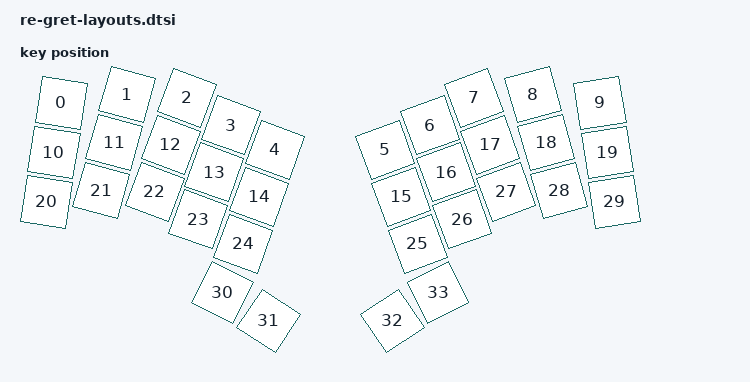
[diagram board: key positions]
#include <physical_layouts.dtsi>

/ {
    physical_layout0: physical_layout_0 {
        compatible = "zmk,physical-layout";
        display-name = "Default";

        kscan = <&kscan0>;
        transform = <&matrix_transform0>;

        keys  //                     w   h    x    y     rot    rx    ry
            = <&key_physical_attrs 100 100   30   17     900    80    67>
            , <&key_physical_attrs 100 100  162    0    1600   212    50>
            , <&key_physical_attrs 100 100  281    7    2000   331    57>
            , <&key_physical_attrs 100 100  369   62    2000   419   112>
            , <&key_physical_attrs 100 100  458  111    2000   508   161>
            , <&key_physical_attrs 100 100  678  111 (-2000)   728   161>
            , <&key_physical_attrs 100 100  768   62 (-2000)   818   112>
            , <&key_physical_attrs 100 100  855    7 (-2000)   905    57>
            , <&key_physical_attrs 100 100  974    0 (-1600)  1024    50>
            , <&key_physical_attrs 100 100 1107   17  (-900)  1157    67>
            , <&key_physical_attrs 100 100   15  116     900    65   166>
            , <&key_physical_attrs 100 100  136   96    1600   186   146>
            , <&key_physical_attrs 100 100  249  101    2000   299   151>
            , <&key_physical_attrs 100 100  336  156    2000   386   206>
            , <&key_physical_attrs 100 100  426  205    2000   476   255>
            , <&key_physical_attrs 100 100  710  205 (-2000)   760   255>
            , <&key_physical_attrs 100 100  800  156 (-2000)   850   206>
            , <&key_physical_attrs 100 100  888  101 (-2000)   938   151>
            , <&key_physical_attrs 100 100 1000   96 (-1600)  1050   146>
            , <&key_physical_attrs 100 100 1122  116  (-900)  1172   166>
            , <&key_physical_attrs 100 100    0  215     900    50   265>
            , <&key_physical_attrs 100 100  110  192    1600   160   242>
            , <&key_physical_attrs 100 100  217  195    2000   267   245>
            , <&key_physical_attrs 100 100  304  250    2000   354   300>
            , <&key_physical_attrs 100 100  394  299    2000   444   349>
            , <&key_physical_attrs 100 100  743  299 (-2000)   793   349>
            , <&key_physical_attrs 100 100  832  250 (-2000)   882   300>
            , <&key_physical_attrs 100 100  920  195 (-2000)   970   245>
            , <&key_physical_attrs 100 100 1026  192 (-1600)  1076   242>
            , <&key_physical_attrs 100 100 1136  215  (-900)  1186   265>
            , <&key_physical_attrs 100 100  353  397    2700   403   446>
            , <&key_physical_attrs 100 100  445  453    3400   495   503>
            , <&key_physical_attrs 100 100  692  453 (-3400)   742   503>
            , <&key_physical_attrs 100 100  783  397 (-2700)   833   446>
            ;
    };
};
